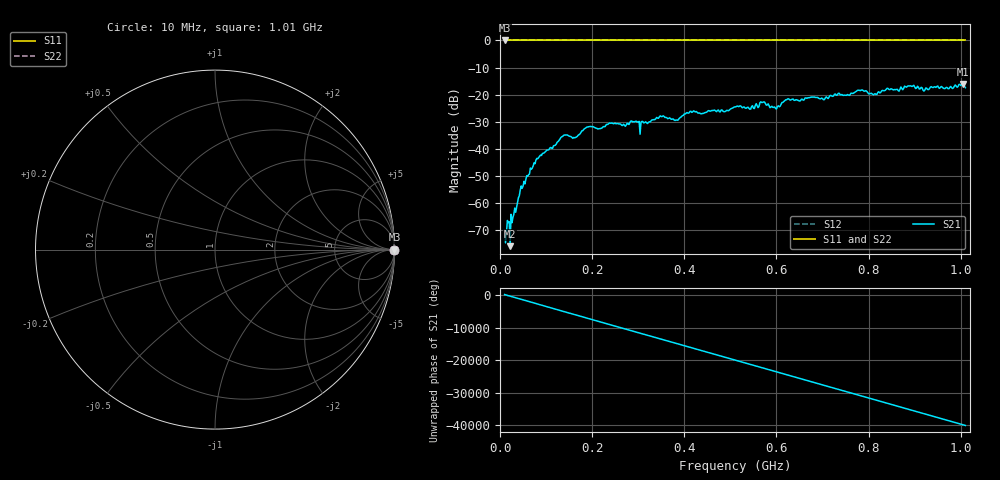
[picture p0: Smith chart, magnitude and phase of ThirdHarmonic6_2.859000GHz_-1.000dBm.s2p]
! 8/17/2025 7:46:50 AM
! C:\ANRITSUVNA\TEMP\TEMP.S2P
! CHANNEL.1
! TR.MEASUREMENT
! RAW.DATA
! RF.CORRECTION.OFF
! AVERAGING.OFF
! IF.BANDWIDTH: 5KHZ
! SWEEPTYPE:  FREQ.SWEEP(Linear)
! Reference Plane Port Info
! PORT:  PORT1  PORT2
! DISTANCE:  0  m  0  m
! TIME:  0  s  0  s
! PHASE.OFFSET:  0  deg.  0  deg.
! LOSS:  0  dB  0  dB
! REF.LOSS:  0  dB  0  dB
! REF.FREQ:  0  Hz  0  Hz
! Power Info
! POWER:  -20  dBm  -20  dBm
! EFF.POWER:  -20  dBm  -20  dBm
! SOURCE.ATTEN:  0  dB  0  dB
! TEST.ATTEN:  0  dB  0  dB
# GHZ S RI R 50.0
! FREQ.GHZ  S11RE  S11IM  S21RE  S21IM  S12RE  S12IM  S22RE  S22IM
!; PortSelection: Port_12
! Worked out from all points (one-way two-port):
!   501 points, 10 MHz to 1.01 GHz, reference 50 ohm
!   highest |S21| = -16.04 dB at 1.004 GHz (marker M1); lowest = -76.1 dB at 22 MHz (marker M2)
!   lowest |S11| = 0.0 dB at 10 MHz (marker M3)
!   |S11| at or under -10 dB: nowhere
!   |S22| runs from 0.0 to 0.0 dB; largest |S21 - S12| = 1.2
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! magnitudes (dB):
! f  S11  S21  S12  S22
! 10 MHz  0.0  -70.2  0.0  0.0
! 22 MHz  0.0  -76.1  0.0  0.0
! 48 MHz  0.0  -54.7  0.0  0.0
! 82 MHz  0.0  -43.7  0.0  0.0
! 136 MHz  0.0  -35.5  0.0  0.0
! 162 MHz  0.0  -36.0  0.0  0.0
! 178 MHz  0.0  -33.4  0.0  0.0
! 240 MHz  0.0  -30.6  0.0  0.0
! 308 MHz  0.0  -29.9  0.0  0.0
! 344 MHz  0.0  -28.8  0.0  0.0
! 382 MHz  0.0  -29.4  0.0  0.0
! 416 MHz  0.0  -26.6  0.0  0.0
! 510 MHz  0.0  -24.6  0.0  0.0
! 570 MHz  0.0  -22.9  0.0  0.0
! 596 MHz  0.0  -24.6  0.0  0.0
! 622 MHz  0.0  -21.9  0.0  0.0
! 678 MHz  0.0  -21.0  0.0  0.0
! 782 MHz  0.0  -18.5  0.0  0.0
! 814 MHz  0.0  -19.7  0.0  0.0
! 844 MHz  0.0  -18.1  0.0  0.0
! 1.004 GHz  0.0  -16.0  0.0  0.0
! 1.01 GHz  0.0  -17.5  0.0  0.0
